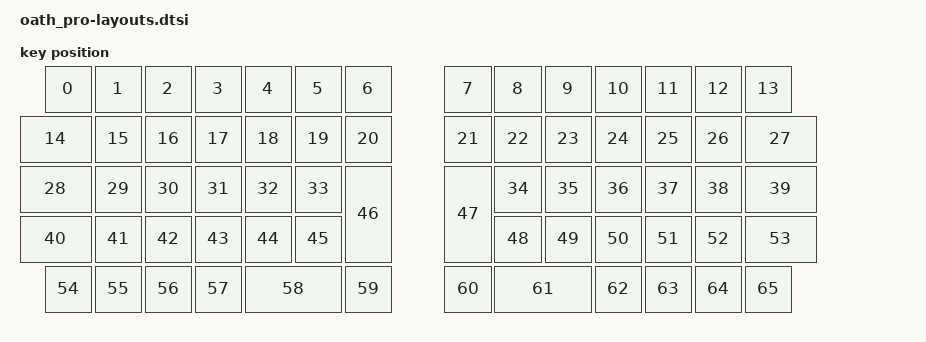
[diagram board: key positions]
#include <physical_layouts.dtsi>

/ {
    oath_pro_layout: oath_pro_layout {
        compatible = "zmk,physical-layout";
        display-name = "Default Layout";
        // kscan = <&kscan0>;
        transform = <&default_transform>;

        keys  //                     w   h    x    y     rot    rx    ry
            = <&key_physical_attrs 100 100   50    0       0     0     0>
            , <&key_physical_attrs 100 100  150    0       0     0     0>
            , <&key_physical_attrs 100 100  250    0       0     0     0>
            , <&key_physical_attrs 100 100  350    0       0     0     0>
            , <&key_physical_attrs 100 100  450    0       0     0     0>
            , <&key_physical_attrs 100 100  550    0       0     0     0>
            , <&key_physical_attrs 100 100  650    0       0     0     0>
            , <&key_physical_attrs 100 100  850    0       0     0     0>
            , <&key_physical_attrs 100 100  950    0       0     0     0>
            , <&key_physical_attrs 100 100 1050    0       0     0     0>
            , <&key_physical_attrs 100 100 1150    0       0     0     0>
            , <&key_physical_attrs 100 100 1250    0       0     0     0>
            , <&key_physical_attrs 100 100 1350    0       0     0     0>
            , <&key_physical_attrs 100 100 1450    0       0     0     0>
            , <&key_physical_attrs 150 100    0  100       0     0     0>
            , <&key_physical_attrs 100 100  150  100       0     0     0>
            , <&key_physical_attrs 100 100  250  100       0     0     0>
            , <&key_physical_attrs 100 100  350  100       0     0     0>
            , <&key_physical_attrs 100 100  450  100       0     0     0>
            , <&key_physical_attrs 100 100  550  100       0     0     0>
            , <&key_physical_attrs 100 100  650  100       0     0     0>
            , <&key_physical_attrs 100 100  850  100       0     0     0>
            , <&key_physical_attrs 100 100  950  100       0     0     0>
            , <&key_physical_attrs 100 100 1050  100       0     0     0>
            , <&key_physical_attrs 100 100 1150  100       0     0     0>
            , <&key_physical_attrs 100 100 1250  100       0     0     0>
            , <&key_physical_attrs 100 100 1350  100       0     0     0>
            , <&key_physical_attrs 150 100 1450  100       0     0     0>
            , <&key_physical_attrs 150 100    0  200       0     0     0>
            , <&key_physical_attrs 100 100  150  200       0     0     0>
            , <&key_physical_attrs 100 100  250  200       0     0     0>
            , <&key_physical_attrs 100 100  350  200       0     0     0>
            , <&key_physical_attrs 100 100  450  200       0     0     0>
            , <&key_physical_attrs 100 100  550  200       0     0     0>
            , <&key_physical_attrs 100 100  950  200       0     0     0>
            , <&key_physical_attrs 100 100 1050  200       0     0     0>
            , <&key_physical_attrs 100 100 1150  200       0     0     0>
            , <&key_physical_attrs 100 100 1250  200       0     0     0>
            , <&key_physical_attrs 100 100 1350  200       0     0     0>
            , <&key_physical_attrs 150 100 1450  200       0     0     0>
            , <&key_physical_attrs 150 100    0  300       0     0     0>
            , <&key_physical_attrs 100 100  150  300       0     0     0>
            , <&key_physical_attrs 100 100  250  300       0     0     0>
            , <&key_physical_attrs 100 100  350  300       0     0     0>
            , <&key_physical_attrs 100 100  450  300       0     0     0>
            , <&key_physical_attrs 100 100  550  300       0     0     0>
            , <&key_physical_attrs 100 200  650  200       0     0     0>
            , <&key_physical_attrs 100 200  850  200       0     0     0>
            , <&key_physical_attrs 100 100  950  300       0     0     0>
            , <&key_physical_attrs 100 100 1050  300       0     0     0>
            , <&key_physical_attrs 100 100 1150  300       0     0     0>
            , <&key_physical_attrs 100 100 1250  300       0     0     0>
            , <&key_physical_attrs 100 100 1350  300       0     0     0>
            , <&key_physical_attrs 150 100 1450  300       0     0     0>
            , <&key_physical_attrs 100 100   50  400       0     0     0>
            , <&key_physical_attrs 100 100  150  400       0     0     0>
            , <&key_physical_attrs 100 100  250  400       0     0     0>
            , <&key_physical_attrs 100 100  350  400       0     0     0>
            , <&key_physical_attrs 200 100  450  400       0     0     0>
            , <&key_physical_attrs 100 100  650  400       0     0     0>
            , <&key_physical_attrs 100 100  850  400       0     0     0>
            , <&key_physical_attrs 200 100  950  400       0     0     0>
            , <&key_physical_attrs 100 100 1150  400       0     0     0>
            , <&key_physical_attrs 100 100 1250  400       0     0     0>
            , <&key_physical_attrs 100 100 1350  400       0     0     0>
            , <&key_physical_attrs 100 100 1450  400       0     0     0>
            ;
    };

    oath_pro_position_map {
        compatible = "zmk,physical-layout-position-map";
        complete;

        oath_pro_map: oath_pro {
            physical-layout = <&oath_pro_layout>;
            positions 
                = < 0  1  2  3  4  5  6  7  8  9 10 11 12 13>
                , <14 15 16 17 18 19 20 21 22 23 24 25 26 27>
                , <28 29 30 31 32 33       34 35 36 37 38 39>
                , <40 41 42 43 44 45 46 47 48 49 50 51 52 53>
                , <53 55 56 57 58    59 60 61    62 63 64 65>;
        };
    };
};
